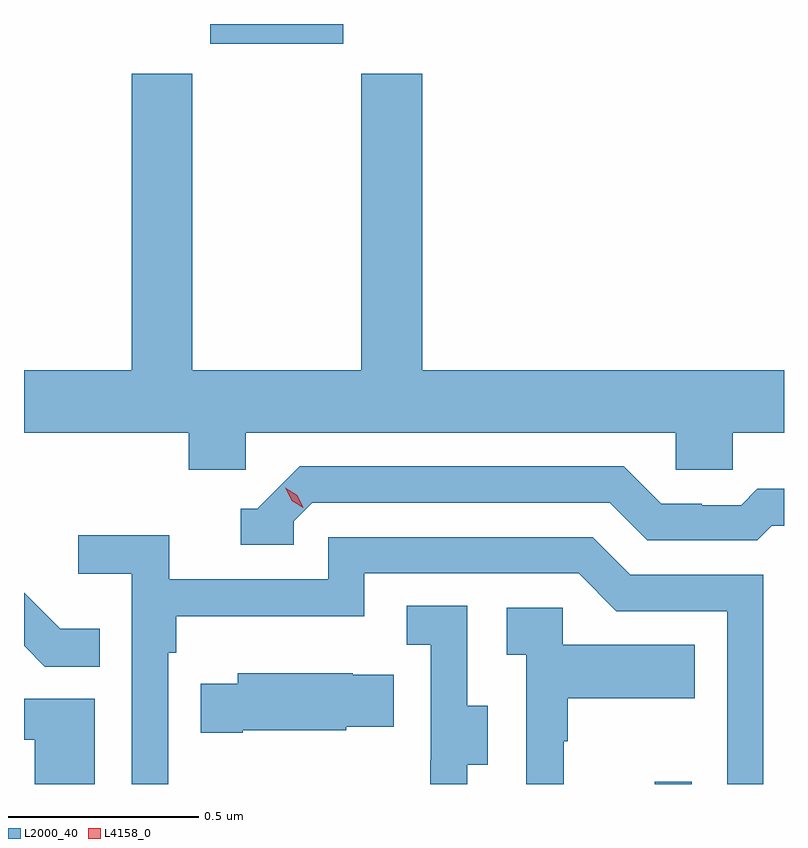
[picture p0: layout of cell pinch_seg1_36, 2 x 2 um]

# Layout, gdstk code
import gdstk
lib = gdstk.Library(unit=1e-6, precision=1e-09)
def R(c, l, rs):  # rectangles x0, y0, x1, y1
    for r in rs: c.add(gdstk.rectangle(r[:2], r[2:], *l))
def P(c, l, *ps):  # polygons
    for p in ps: c.add(gdstk.Polygon(p, *l))
L2000_40 = (2000, 40)
L4158_0 = (4158, 0)

pinch_seg1_36 = lib.new_cell('pinch_seg1_36')
R(pinch_seg1_36, L2000_40, [(1118.912,566.791,1119.009,566.797), (1117.742,568.739,1118.092,568.791)])
P(pinch_seg1_36, L2000_40, [(1117.836,567.716),(1118.967,567.716),(1118.967,567.618),(1119.117,567.618),(1119.117,567.716),(1119.252,567.716),(1119.252,567.88),(1118.3,567.88),(1118.3,568.66),(1118.14,568.66),(1118.14,567.88),(1117.695,567.88),(1117.695,568.66),(1117.535,568.66),(1117.535,567.88),(1117.252,567.88),(1117.252,567.716),(1117.685,567.716),(1117.685,567.618),(1117.836,567.618)],
  [(1117.962,567.483),(1118.01,567.531),(1118.793,567.531),(1118.892,567.432),(1119.181,567.432),(1119.22,567.471),(1119.252,567.471),(1119.252,567.568),(1119.181,567.568),(1119.139,567.525),(1119.036,567.525),(1119.036,567.528),(1118.929,567.528),(1118.83,567.627),(1117.977,567.627),(1117.866,567.516),(1117.823,567.516),(1117.823,567.42),(1117.962,567.42)],
  [(1117.632,567.137),(1117.652,567.137),(1117.652,567.233),(1118.148,567.233),(1118.148,567.345),(1118.712,567.345),(1118.811,567.246),(1119.102,567.246),(1119.102,566.791),(1119.198,566.791),(1119.198,567.342),(1118.848,567.342),(1118.749,567.441),(1118.052,567.441),(1118.052,567.33),(1117.634,567.33),(1117.634,567.446),(1117.395,567.446),(1117.395,567.344),(1117.536,567.344),(1117.536,566.791),(1117.632,566.791)],
  [(1117.451,567.199),(1117.347,567.199),(1117.252,567.294),(1117.252,567.155),(1117.307,567.1),(1117.451,567.1)],
  [(1118.419,566.842),(1118.473,566.842),(1118.473,566.997),(1118.418,566.997),(1118.418,567.26),(1118.259,567.26),(1118.259,567.157),(1118.322,567.157),(1118.322,566.853),(1118.321,566.853),(1118.321,566.791),(1118.419,566.791)],
  [(1118.673,566.903),(1118.683,566.903),(1118.683,567.017),(1119.017,567.017),(1119.017,567.157),(1118.67,567.157),(1118.67,567.255),(1118.523,567.255),(1118.523,567.131),(1118.574,567.131),(1118.574,566.791),(1118.673,566.791)],
  [(1117.828,566.933),(1118.1,566.933),(1118.1,566.942),(1118.225,566.942),(1118.225,567.079),(1118.117,567.079),(1118.117,567.082),(1117.815,567.082),(1117.815,567.055),(1117.717,567.055),(1117.717,566.926),(1117.828,566.926)],
  [(1117.438,567.015),(1117.252,567.015),(1117.252,566.907),(1117.28,566.907),(1117.28,566.791),(1117.438,566.791)])
P(pinch_seg1_36, L4158_0, [(1117.987,567.518),(1117.956,567.537),(1117.94,567.57),(1117.94,567.57),(1117.94,567.57),(1117.971,567.551),(1117.987,567.518),(1117.987,567.518)])

lib.write_gds('pinch_seg1_36.gds')
